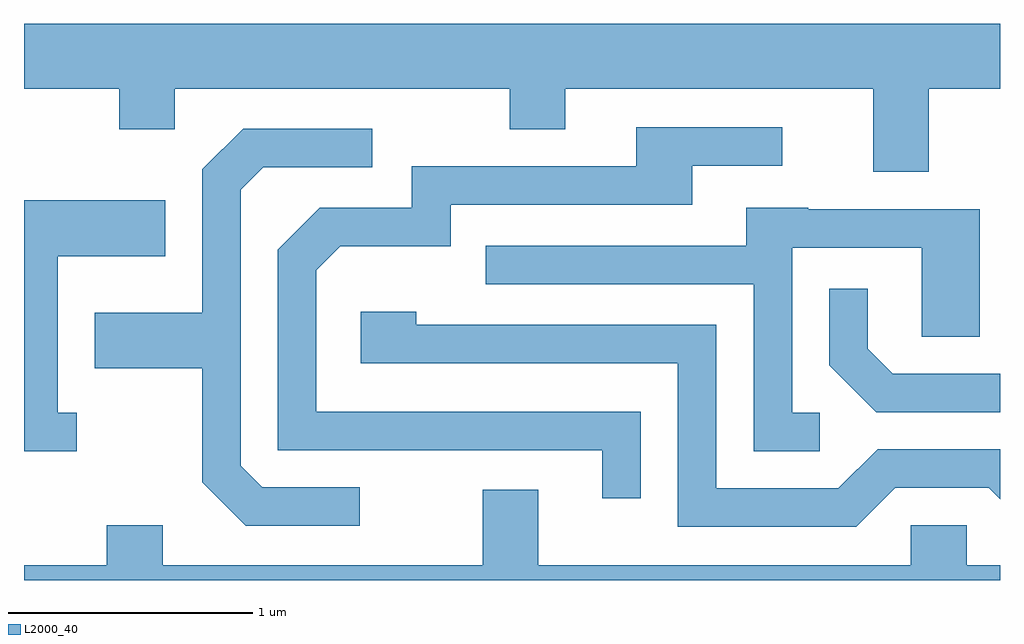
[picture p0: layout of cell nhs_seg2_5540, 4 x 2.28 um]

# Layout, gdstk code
import gdstk
lib = gdstk.Library(unit=1e-6, precision=1e-09)
def P(c, l, *ps):  # polygons
    for p in ps: c.add(gdstk.Polygon(p, *l))
L2000_40 = (2000, 40)

nhs_seg2_5540 = lib.new_cell('nhs_seg2_5540')
P(nhs_seg2_5540, L2000_40, [(351.319,1103.816),(351.611,1103.816),(351.611,1104.084),(347.611,1104.084),(347.611,1103.816),(348.001,1103.816),(348.001,1103.651),(348.229,1103.651),(348.229,1103.816),(349.601,1103.816),(349.601,1103.651),(349.829,1103.651),(349.829,1103.816),(351.091,1103.816),(351.091,1103.476),(351.319,1103.476)],
  [(350.139,1102.494),(348.809,1102.494),(348.809,1103.074),(348.907,1103.171),(349.359,1103.171),(349.359,1103.341),(350.349,1103.341),(350.349,1103.501),(350.718,1103.501),(350.718,1103.659),(350.121,1103.659),(350.121,1103.499),(349.201,1103.499),(349.201,1103.329),(348.824,1103.329),(348.651,1103.157),(348.651,1102.336),(349.981,1102.336),(349.981,1102.138),(350.139,1102.138)],
  [(348.988,1102.184),(348.587,1102.184),(348.499,1102.272),(348.499,1103.404),(348.592,1103.496),(349.038,1103.496),(349.038,1103.654),(348.509,1103.654),(348.341,1103.487),(348.341,1102.899),(347.901,1102.899),(347.901,1102.671),(348.341,1102.671),(348.341,1102.204),(348.519,1102.026),(348.988,1102.026)],
  [(347.828,1102.489),(347.749,1102.489),(347.749,1103.131),(348.189,1103.131),(348.189,1103.359),(347.611,1103.359),(347.611,1102.331),(347.828,1102.331)],
  [(350.873,1102.489),(350.759,1102.489),(350.759,1103.166),(351.291,1103.166),(351.291,1102.801),(351.529,1102.801),(351.529,1103.324),(350.825,1103.324),(350.825,1103.329),(350.571,1103.329),(350.571,1103.174),(349.503,1103.174),(349.503,1103.016),(350.601,1103.016),(350.601,1102.331),(350.873,1102.331)],
  [(351.611,1102.649),(351.172,1102.649),(351.069,1102.752),(351.069,1102.998),(350.911,1102.998),(350.911,1102.684),(351.104,1102.491),(351.611,1102.491)],
  [(351.182,1102.181),(351.564,1102.181),(351.611,1102.134),(351.611,1102.339),(351.109,1102.339),(350.949,1102.179),(350.449,1102.179),(350.449,1102.849),(349.219,1102.849),(349.219,1102.904),(348.991,1102.904),(348.991,1102.691),(350.291,1102.691),(350.291,1102.021),(351.022,1102.021)],
  [(351.611,1101.864),(351.474,1101.864),(351.474,1102.029),(351.246,1102.029),(351.246,1101.864),(349.719,1101.864),(349.719,1102.174),(349.491,1102.174),(349.491,1101.864),(348.179,1101.864),(348.179,1102.029),(347.951,1102.029),(347.951,1101.864),(347.611,1101.864),(347.611,1101.802),(351.611,1101.802)])

lib.write_gds('nhs_seg2_5540.gds')
